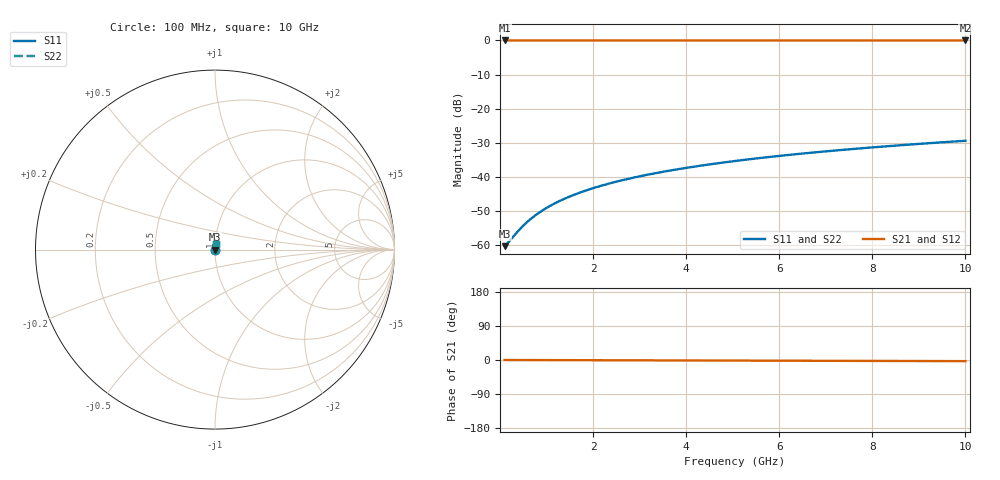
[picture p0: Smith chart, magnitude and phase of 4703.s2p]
# Hz S RI R 50.00
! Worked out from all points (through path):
!   100 points, 100 MHz to 10 GHz, reference 50 ohm
!   highest |S21| = -0.01 dB at 100 MHz (marker M1); lowest = 0.0 dB at 10 GHz (marker M2)
!   lowest |S11| = -60.4 dB at 100 MHz (marker M3), VSWR 1.00, Z = 50.1 + j0.0336 ohm
!   |S11| at or under -10 dB: start of sweep to end of sweep
!   |S22| runs from -60.4 to -29.4 dB; largest |S21 - S12| = 0
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1e8  0.000898 0.000336  0.9991 -0.000531  0.9991 -0.000531  0.000898 0.000336
2e8  0.000904 0.000672  0.9991 -0.00106  0.9991 -0.00106  0.000904 0.000672
4e8  0.000914 0.00134  0.9991 -0.00212  0.9991 -0.00212  0.000914 0.00134
5e8  0.000919 0.00168  0.9991 -0.00266  0.9991 -0.00266  0.000919 0.00168
6e8  0.000923 0.00202  0.9991 -0.00319  0.9991 -0.00319  0.000923 0.00202
7e8  0.000928 0.00235  0.9991 -0.00372  0.9991 -0.00372  0.000928 0.00235
8e8  0.000933 0.00269  0.9991 -0.00425  0.9991 -0.00425  0.000933 0.00269
1e9  0.000943 0.00336  0.9991 -0.00531  0.9991 -0.00531  0.000943 0.00336
1.2e9  0.000954 0.00403  0.999 -0.00637  0.999 -0.00637  0.000954 0.00403
1.5e9  0.000973 0.00504  0.999 -0.00797  0.999 -0.00797  0.000973 0.00504
1.8e9  0.000995 0.00605  0.999 -0.00956  0.999 -0.00956  0.000995 0.00605
2.1e9  0.00102 0.00705  0.999 -0.0112  0.999 -0.0112  0.00102 0.00705
2.5e9  0.00106 0.0084  0.9989 -0.0133  0.9989 -0.0133  0.00106 0.0084
2.9e9  0.0011 0.00974  0.9989 -0.0154  0.9989 -0.0154  0.0011 0.00974
3.4e9  0.00116 0.0114  0.9988 -0.0181  0.9988 -0.0181  0.00116 0.0114
4.2e9  0.00128 0.0141  0.9987 -0.0223  0.9987 -0.0223  0.00128 0.0141
5.1e9  0.00143 0.0171  0.9985 -0.0271  0.9985 -0.0271  0.00143 0.0171
5.9e9  0.0016 0.0198  0.9983 -0.0314  0.9983 -0.0314  0.0016 0.0198
6.7e9  0.00178 0.0225  0.9981 -0.0356  0.9981 -0.0356  0.00178 0.0225
7.5e9  0.00199 0.0252  0.9979 -0.0399  0.9979 -0.0399  0.00199 0.0252
8.4e9  0.00226 0.0282  0.9976 -0.0447  0.9976 -0.0447  0.00226 0.0282
1e10  0.0028 0.0336  0.997 -0.0532  0.997 -0.0532  0.0028 0.0336
